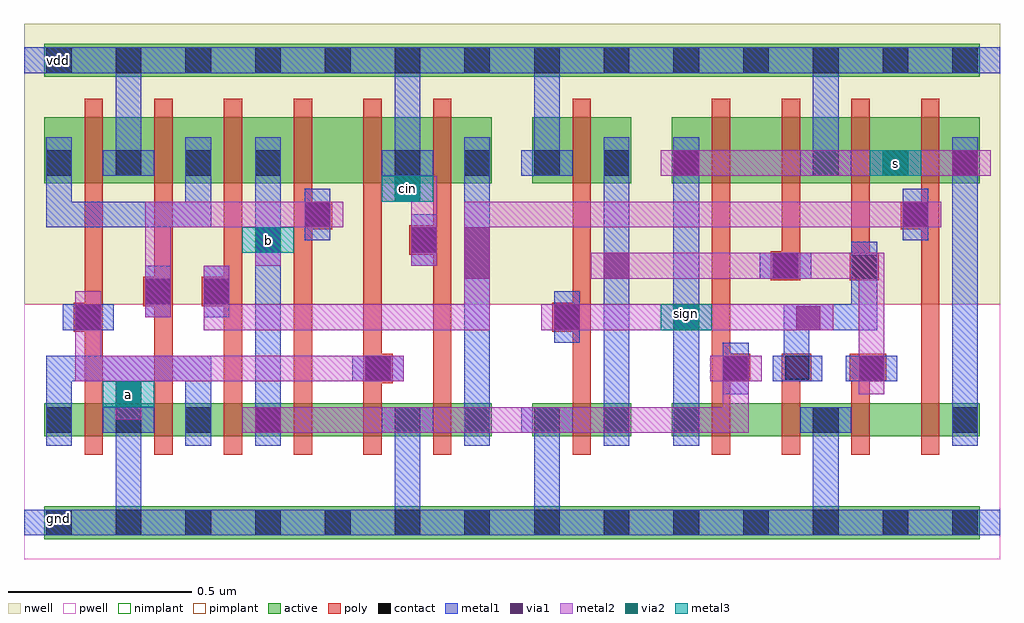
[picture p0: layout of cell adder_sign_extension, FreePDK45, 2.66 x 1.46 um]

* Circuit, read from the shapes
.subckt adder_sign_extension a b cin gnd s sign vdd
M1 gnd a n1 gnd nfet w=0.09u l=0.05u
M2 n1 b gnd gnd nfet w=0.09u l=0.05u
M3 n2 n3 n1 gnd nfet w=0.09u l=0.05u
M4 n4 b n2 gnd nfet w=0.09u l=0.05u
M5 gnd a n4 gnd nfet w=0.09u l=0.05u
M6 n3 cin gnd gnd nfet w=0.09u l=0.05u
M7 n5 sign gnd gnd nfet w=0.09u l=0.05u
M8 n6 n2 s gnd nfet w=0.09u l=0.05u
M9 gnd sign n6 gnd nfet w=0.09u l=0.05u
M10 n7 n5 gnd gnd nfet w=0.09u l=0.05u
M11 s n3 n7 gnd nfet w=0.09u l=0.05u
M12 vdd a n8 vdd pfet w=0.18u l=0.05u
M13 n8 b vdd vdd pfet w=0.18u l=0.05u
M14 n2 n3 n8 vdd pfet w=0.18u l=0.05u
M15 n9 b n2 vdd pfet w=0.18u l=0.05u
M16 vdd a n9 vdd pfet w=0.18u l=0.05u
M17 n3 cin vdd vdd pfet w=0.18u l=0.05u
M18 n5 sign vdd vdd pfet w=0.18u l=0.05u
M19 n10 n2 s vdd pfet w=0.18u l=0.05u
M20 vdd n5 n10 vdd pfet w=0.18u l=0.05u
M21 n11 sign vdd vdd pfet w=0.18u l=0.05u
M22 s n3 n11 vdd pfet w=0.18u l=0.05u
.ends

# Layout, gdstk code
import gdstk
lib = gdstk.Library(unit=1e-6, precision=5e-10)
def R(c, l, rs):  # rectangles x0, y0, x1, y1
    for r in rs: c.add(gdstk.rectangle(r[:2], r[2:], *l))
def A(c, l, x, y, w, h, nx, ny, dx, dy):  # array of equal rectangles
    R(c, l, [(x+i*dx, y+j*dy, x+i*dx+w, y+j*dy+h) for i in range(nx) for j in range(ny)])
active = (1, 0)
pwell = (2, 0)
nwell = (3, 0)
nimplant = (4, 0)
pimplant = (5, 0)
poly = (9, 0)
contact = (10, 0)
metal1 = (11, 0)
via1 = (12, 0)
metal2 = (13, 0)
via2 = (14, 0)
metal3 = (15, 0)

adder_sign_extension = lib.new_cell('adder_sign_extension')
R(adder_sign_extension, active, [(0.055,-0.045,2.605,0.045), (0.055,0.235,1.275,0.325), (1.385,0.235,1.655,0.325), (1.765,0.235,2.605,0.325), (0.055,0.925,1.275,1.105), (1.385,0.925,1.655,1.105), (1.765,0.925,2.605,1.105), (0.055,1.215,2.605,1.305)])
R(adder_sign_extension, pwell, [(0,-0.1,2.66,0.595)])
R(adder_sign_extension, nwell, [(0,0.595,2.66,1.36)])
R(adder_sign_extension, nimplant, [(0.055,0.235,1.275,0.325), (1.385,0.235,1.655,0.325), (1.765,0.235,2.605,0.325), (0.055,1.215,2.605,1.305)])
R(adder_sign_extension, pimplant, [(0.055,-0.045,2.605,0.045), (0.055,0.925,1.275,1.105), (1.385,0.925,1.655,1.105), (1.765,0.925,2.605,1.105)])
A(adder_sign_extension, poly, 0.165, 0.185, 0.05, 0.97, 6, 1, 0.19, 0)
R(adder_sign_extension, poly, [(1.495,0.185,1.545,1.155), (1.875,0.185,1.925,1.155), (2.065,0.185,2.115,0.46), (2.255,0.185,2.305,0.46), (2.445,0.185,2.495,1.155), (0.975,0.38,1.005,0.46), (1.925,0.385,1.98,0.46), (2.115,0.385,2.145,0.46), (2.25,0.385,2.255,0.46), (2.305,0.385,2.35,0.46), (0.135,0.52,0.165,0.6), (1.44,0.52,1.495,0.6), (0.325,0.59,0.355,0.67), (0.485,0.59,0.545,0.67), (2.035,0.66,2.065,0.74), (2.065,0.66,2.115,1.155), (2.25,0.66,2.255,0.735), (2.255,0.66,2.305,1.155), (2.305,0.66,2.33,0.735), (1.05,0.73,1.115,0.81), (0.785,0.8,0.84,0.875), (2.39,0.8,2.445,0.875)])
A(adder_sign_extension, contact, 0.06, -0.035, 0.07, 0.07, 14, 2, 0.19, 1.26)
A(adder_sign_extension, contact, 0.06, 0.245, 0.07, 0.07, 4, 2, 0.19, 0.7)
A(adder_sign_extension, contact, 1.01, 0.245, 0.07, 0.07, 5, 2, 0.19, 0.7)
R(adder_sign_extension, contact, [(2.15,0.245,2.22,0.315), (2.53,0.245,2.6,0.315), (0.93,0.39,1,0.455), (1.905,0.39,1.97,0.455), (2.075,0.39,2.14,0.455), (2.275,0.39,2.345,0.455), (0.14,0.525,0.21,0.595), (1.445,0.525,1.515,0.595), (0.33,0.595,0.4,0.665), (0.49,0.595,0.56,0.665), (2.04,0.665,2.11,0.735), (2.255,0.665,2.325,0.73), (1.055,0.735,1.125,0.805), (0.765,0.805,0.835,0.87), (2.395,0.805,2.465,0.87), (2.15,0.945,2.22,1.015), (2.53,0.945,2.6,1.015)])
R(adder_sign_extension, metal1, [(0,-0.035,2.66,0.035), (0.25,0.035,0.32,0.245), (1.01,0.035,1.08,0.245), (1.39,0.035,1.46,0.245), (2.15,0.035,2.22,0.245), (0.06,0.21,0.13,0.385), (0.44,0.21,0.51,0.385), (0.63,0.21,0.7,1.05), (1.2,0.21,1.27,1.05), (1.58,0.21,1.65,1.05), (1.77,0.21,1.84,1.05), (2.53,0.21,2.6,1.05), (0.215,0.245,0.355,0.315), (0.975,0.245,1.115,0.315), (1.355,0.245,1.495,0.315), (2.115,0.245,2.255,0.315), (1.905,0.35,1.975,0.49), (0.06,0.385,0.51,0.455), (0.895,0.385,1.035,0.455), (2.04,0.385,2.175,0.455), (2.24,0.385,2.38,0.455), (2.07,0.455,2.14,0.595), (1.445,0.49,1.515,0.63), (0.105,0.525,0.245,0.595), (2.14,0.525,2.255,0.595), (2.255,0.525,2.325,0.765), (0.33,0.56,0.4,0.7), (0.49,0.56,0.56,0.7), (2.005,0.665,2.145,0.735), (1.055,0.7,1.125,0.84), (0.765,0.77,0.835,0.91), (2.395,0.77,2.465,0.91), (0.06,0.805,0.51,0.875), (0.06,0.875,0.13,1.05), (0.44,0.875,0.51,1.05), (0.215,0.945,0.355,1.015), (0.975,0.945,1.115,1.015), (1.355,0.945,1.495,1.015), (2.115,0.945,2.255,1.015), (0.25,1.015,0.32,1.225), (1.01,1.015,1.08,1.225), (1.39,1.015,1.46,1.225), (2.15,1.015,2.22,1.225), (0,1.225,2.66,1.295)])
R(adder_sign_extension, via1, [(0.63,0.245,0.7,0.315), (0.93,0.385,1,0.455), (1.905,0.385,1.975,0.455), (2.275,0.385,2.345,0.455), (0.14,0.525,0.21,0.595), (1.445,0.525,1.515,0.595), (2.105,0.525,2.17,0.59), (0.33,0.595,0.4,0.665), (0.49,0.595,0.56,0.665), (1.2,0.665,1.27,0.735), (1.58,0.665,1.65,0.735), (2.04,0.665,2.11,0.735), (1.055,0.735,1.125,0.805), (1.2,0.735,1.27,0.805), (0.765,0.805,0.835,0.875), (2.395,0.805,2.465,0.875), (1.77,0.945,1.84,1.015), (2.53,0.945,2.6,1.015)])
R(adder_sign_extension, metal2, [(0.595,0.245,1.905,0.315), (1.905,0.245,1.975,0.385), (0.25,0.28,0.32,0.385), (2.275,0.35,2.345,0.665), (0.14,0.385,1.035,0.455), (1.87,0.385,2.01,0.455), (0.14,0.455,0.21,0.63), (0.49,0.525,0.56,0.7), (0.56,0.525,1.27,0.595), (1.41,0.525,2.205,0.595), (0.33,0.56,0.4,0.805), (1.2,0.595,1.27,0.805), (1.545,0.665,2.345,0.735), (0.63,0.7,0.7,0.805), (1.055,0.7,1.125,0.875), (0.33,0.805,0.87,0.875), (1.2,0.805,2.5,0.875), (0.975,0.875,1.125,0.945), (1.735,0.945,2.635,1.015)])
R(adder_sign_extension, via2, [(0.25,0.315,0.32,0.385), (1.77,0.525,1.84,0.595), (0.63,0.735,0.7,0.805), (1.01,0.875,1.08,0.945), (2.34,0.945,2.41,1.015)])
R(adder_sign_extension, metal3, [(0.215,0.315,0.355,0.385), (1.735,0.525,1.875,0.595), (0.595,0.735,0.735,0.805), (0.975,0.875,1.115,0.945), (2.305,0.945,2.445,1.015)])
adder_sign_extension.add(gdstk.Label('gnd', (0.095,0.01), layer=11, texttype=0))
adder_sign_extension.add(gdstk.Label('vdd', (0.095,1.26), layer=11, texttype=0))
adder_sign_extension.add(gdstk.Label('sign', (1.805,0.57), layer=15, texttype=0))
adder_sign_extension.add(gdstk.Label('cin', (1.045,0.91), layer=15, texttype=0))
adder_sign_extension.add(gdstk.Label('s', (2.375,0.98), layer=15, texttype=0))
adder_sign_extension.add(gdstk.Label('b', (0.665,0.77), layer=15, texttype=0))
adder_sign_extension.add(gdstk.Label('a', (0.285,0.35), layer=15, texttype=0))

lib.write_gds('adder_sign_extension.gds')
